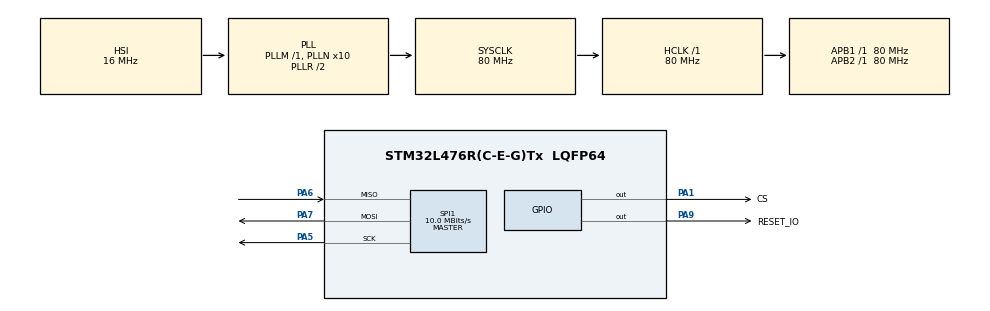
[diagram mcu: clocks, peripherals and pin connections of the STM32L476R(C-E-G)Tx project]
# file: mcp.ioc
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Mcu.Family=STM32L4
Mcu.Name=STM32L476R(C-E-G)Tx
Mcu.Package=LQFP64
NVIC.PriorityGroup=NVIC_PRIORITYGROUP_4
NVIC.SPI1_IRQn=true\:0\:0\:false\:false\:true\:true\:true\:true
NVIC.TIM7_IRQn=true\:0\:0\:false\:false\:true\:true\:true\:true
PA1.GPIO_Label=CS
PA1.Signal=GPIO_Output
PA13\ (JTMS-SWDIO).Mode=Serial_Wire
PA13\ (JTMS-SWDIO).Signal=SYS_JTMS-SWDIO
PA14\ (JTCK-SWCLK).Mode=Serial_Wire
PA14\ (JTCK-SWCLK).Signal=SYS_JTCK-SWCLK
PA5.Mode=Full_Duplex_Master
PA5.Signal=SPI1_SCK
PA6.Mode=Full_Duplex_Master
PA6.Signal=SPI1_MISO
PA7.Mode=Full_Duplex_Master
PA7.Signal=SPI1_MOSI
PA9.GPIO_Label=RESET_IO
PA9.Signal=GPIO_Output
ProjectManager.HeapSize=0x200
ProjectManager.StackSize=0x400
ProjectManager.TargetToolchain=STM32CubeIDE
RCC.ADCFreq_Value=64000000
RCC.AHBFreq_Value=80000000
RCC.APB1Freq_Value=80000000
RCC.APB1TimFreq_Value=80000000
RCC.APB2Freq_Value=80000000
RCC.APB2TimFreq_Value=80000000
RCC.CortexFreq_Value=80000000
RCC.HCLKFreq_Value=80000000
RCC.HSE_VALUE=8000000
RCC.HSI_VALUE=16000000
RCC.LSE_VALUE=32768
RCC.MSI_VALUE=4000000
RCC.PLLN=10
RCC.PLLSourceVirtual=RCC_PLLSOURCE_HSI
RCC.SYSCLKFreq_VALUE=80000000
RCC.SYSCLKSource=RCC_SYSCLKSOURCE_PLLCLK
RCC.USBFreq_Value=64000000
RCC.VCOOutputFreq_Value=160000000
SPI1.BaudRatePrescaler=SPI_BAUDRATEPRESCALER_8
SPI1.CalculateBaudRate=10.0 MBits/s
SPI1.DataSize=SPI_DATASIZE_8BIT
SPI1.Direction=SPI_DIRECTION_2LINES
SPI1.Mode=SPI_MODE_MASTER
SPI1.NSSPMode=SPI_NSS_PULSE_DISABLE
SPI1.VirtualType=VM_MASTER
TIM7.Period=49999
TIM7.Prescaler=7
VP_TIM7_VS_ClockSourceINT.Mode=Enable_Timer
board=custom

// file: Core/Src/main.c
/* USER CODE BEGIN Header */
/**
  ******************************************************************************
  * @file           : main.c
  * @brief          : Main program body
  ******************************************************************************
  * @attention
  *
  * Copyright (c) 2024 STMicroelectronics.
  * All rights reserved.
  *
  * This software is licensed under terms that can be found in the LICENSE file
  * in the root directory of this software component.
  * If no LICENSE file comes with this software, it is provided AS-IS.
  *
  ******************************************************************************
  */
/* USER CODE END Header */
#include "main.h"

SPI_HandleTypeDef hspi1;

TIM_HandleTypeDef htim7;

void SystemClock_Config(void);
static void MX_GPIO_Init(void);
static void MX_TIM7_Init(void);
static void MX_SPI1_Init(void);

/* USER CODE BEGIN 0 */
#include "Custom/mcp23s17.h"

mcp23s17_t mcp;
volatile bool is_powered = false;
uint8_t reg_value = 123;

void HAL_TIM_PeriodElapsedCallback(TIM_HandleTypeDef *h) {
	is_powered = !is_powered;
}

void setup(void) {
	//mcp23s17_init(&mcp, &hspi1, GPIOA, GPIO_PIN_1, 0x00, GPIOA, GPIO_PIN_9);

	write_pin(GPIOA, GPIO_PIN_1, true);
	write_pin(GPIOA, GPIO_PIN_9, true);
	HAL_Delay(1);
	write_pin(GPIOA, GPIO_PIN_1, false);
	write_pin(GPIOA, GPIO_PIN_9, false);
	HAL_Delay(1);
	write_pin(GPIOA, GPIO_PIN_1, true);
	write_pin(GPIOA, GPIO_PIN_9, true);
	HAL_Delay(1);

	write_pin(GPIOA, GPIO_PIN_1, false);

	char tx_buf[3];
	 tx_buf[0] = 0x40;
	    tx_buf[1] = 0x14;
	    tx_buf[2] = 0xFF;

	    HAL_StatusTypeDef status = HAL_SPI_Transmit(&hspi1, tx_buf, 3, 1000);
	    while (HAL_SPI_GetState(&hspi1) != HAL_SPI_STATE_READY);

	    write_pin(GPIOA, GPIO_PIN_1, true);
	    HAL_Delay(1);

	//set up as outputs
	//mcp23s17_write(&mcp, MCP_IOCONA, 0x28);
	//mcp23s17_write(&mcp, MCP_IODIRA, 0x00);
	//mcp23s17_write(&mcp, MCP_IODIRB, 0x00);

	//HAL_Delay(15);
	//mcp23s17_write(&mcp, MCP_GPIOA, 0xff);
	//HAL_Delay(15);
	//mcp23s17_write(&mcp, MCP_GPIOB, 0x00);

	//mcp23s17_write(&mcp, MCP_GPIOA, 0xff);
	//reg_value = mcp23s17_read(&mcp, MCP_IODIRA);

//	HAL_TIM_Base_Start_IT(&htim7);
}

void loop(void) {

}
/* USER CODE END 0 */

int main(void)
{

  /* MCU Configuration--------------------------------------------------------*/

  /* Reset of all peripherals, Initializes the Flash interface and the Systick. */
  HAL_Init();

  /* Configure the system clock */
  SystemClock_Config();

  /* Initialize all configured peripherals */
  MX_GPIO_Init();
  MX_TIM7_Init();
  MX_SPI1_Init();
  /* USER CODE BEGIN 2 */
  setup();
  /* USER CODE END 2 */

  /* Infinite loop */
  /* USER CODE BEGIN WHILE */
  while (1)
  {
	loop();
    /* USER CODE END WHILE */

  }
}

void SystemClock_Config(void)
{
  RCC_OscInitTypeDef RCC_OscInitStruct = {0};
  RCC_ClkInitTypeDef RCC_ClkInitStruct = {0};

  /** Configure the main internal regulator output voltage
  */
  if (HAL_PWREx_ControlVoltageScaling(PWR_REGULATOR_VOLTAGE_SCALE1) != HAL_OK)
  {
    Error_Handler();
  }

  /** Initializes the RCC Oscillators according to the specified parameters
  * in the RCC_OscInitTypeDef structure.
  */
  RCC_OscInitStruct.OscillatorType = RCC_OSCILLATORTYPE_HSI;
  RCC_OscInitStruct.HSIState = RCC_HSI_ON;
  RCC_OscInitStruct.HSICalibrationValue = RCC_HSICALIBRATION_DEFAULT;
  RCC_OscInitStruct.PLL.PLLState = RCC_PLL_ON;
  RCC_OscInitStruct.PLL.PLLSource = RCC_PLLSOURCE_HSI;
  RCC_OscInitStruct.PLL.PLLM = 1;
  RCC_OscInitStruct.PLL.PLLN = 10;
  RCC_OscInitStruct.PLL.PLLP = RCC_PLLP_DIV7;
  RCC_OscInitStruct.PLL.PLLQ = RCC_PLLQ_DIV2;
  RCC_OscInitStruct.PLL.PLLR = RCC_PLLR_DIV2;
  if (HAL_RCC_OscConfig(&RCC_OscInitStruct) != HAL_OK)
  {
    Error_Handler();
  }

  /** Initializes the CPU, AHB and APB buses clocks
  */
  RCC_ClkInitStruct.ClockType = RCC_CLOCKTYPE_HCLK|RCC_CLOCKTYPE_SYSCLK
                              |RCC_CLOCKTYPE_PCLK1|RCC_CLOCKTYPE_PCLK2;
  RCC_ClkInitStruct.SYSCLKSource = RCC_SYSCLKSOURCE_PLLCLK;
  RCC_ClkInitStruct.AHBCLKDivider = RCC_SYSCLK_DIV1;
  RCC_ClkInitStruct.APB1CLKDivider = RCC_HCLK_DIV1;
  RCC_ClkInitStruct.APB2CLKDivider = RCC_HCLK_DIV1;

  if (HAL_RCC_ClockConfig(&RCC_ClkInitStruct, FLASH_LATENCY_4) != HAL_OK)
  {
    Error_Handler();
  }
}

static void MX_SPI1_Init(void)
{

  /* SPI1 parameter configuration*/
  hspi1.Instance = SPI1;
  hspi1.Init.Mode = SPI_MODE_MASTER;
  hspi1.Init.Direction = SPI_DIRECTION_2LINES;
  hspi1.Init.DataSize = SPI_DATASIZE_8BIT;
  hspi1.Init.CLKPolarity = SPI_POLARITY_LOW;
  hspi1.Init.CLKPhase = SPI_PHASE_1EDGE;
  hspi1.Init.NSS = SPI_NSS_SOFT;
  hspi1.Init.BaudRatePrescaler = SPI_BAUDRATEPRESCALER_8;
  hspi1.Init.FirstBit = SPI_FIRSTBIT_MSB;
  hspi1.Init.TIMode = SPI_TIMODE_DISABLE;
  hspi1.Init.CRCCalculation = SPI_CRCCALCULATION_DISABLE;
  hspi1.Init.CRCPolynomial = 7;
  hspi1.Init.CRCLength = SPI_CRC_LENGTH_DATASIZE;
  hspi1.Init.NSSPMode = SPI_NSS_PULSE_DISABLE;
  if (HAL_SPI_Init(&hspi1) != HAL_OK)
  {
    Error_Handler();
  }

}

static void MX_TIM7_Init(void)
{

  TIM_MasterConfigTypeDef sMasterConfig = {0};

  htim7.Instance = TIM7;
  htim7.Init.Prescaler = 7;
  htim7.Init.CounterMode = TIM_COUNTERMODE_UP;
  htim7.Init.Period = 49999;
  htim7.Init.AutoReloadPreload = TIM_AUTORELOAD_PRELOAD_DISABLE;
  if (HAL_TIM_Base_Init(&htim7) != HAL_OK)
  {
    Error_Handler();
  }
  sMasterConfig.MasterOutputTrigger = TIM_TRGO_RESET;
  sMasterConfig.MasterSlaveMode = TIM_MASTERSLAVEMODE_DISABLE;
  if (HAL_TIMEx_MasterConfigSynchronization(&htim7, &sMasterConfig) != HAL_OK)
  {
    Error_Handler();
  }

}

static void MX_GPIO_Init(void)
{
  GPIO_InitTypeDef GPIO_InitStruct = {0};

  /* GPIO Ports Clock Enable */
  __HAL_RCC_GPIOA_CLK_ENABLE();

  /*Configure GPIO pin Output Level */
  HAL_GPIO_WritePin(GPIOA, CS_Pin|RESET_IO_Pin, GPIO_PIN_RESET);

  /*Configure GPIO pins : CS_Pin RESET_IO_Pin */
  GPIO_InitStruct.Pin = CS_Pin|RESET_IO_Pin;
  GPIO_InitStruct.Mode = GPIO_MODE_OUTPUT_PP;
  GPIO_InitStruct.Pull = GPIO_NOPULL;
  GPIO_InitStruct.Speed = GPIO_SPEED_FREQ_LOW;
  HAL_GPIO_Init(GPIOA, &GPIO_InitStruct);

}

void Error_Handler(void)
{
  __disable_irq();
  while (1)
  {
  }
}
